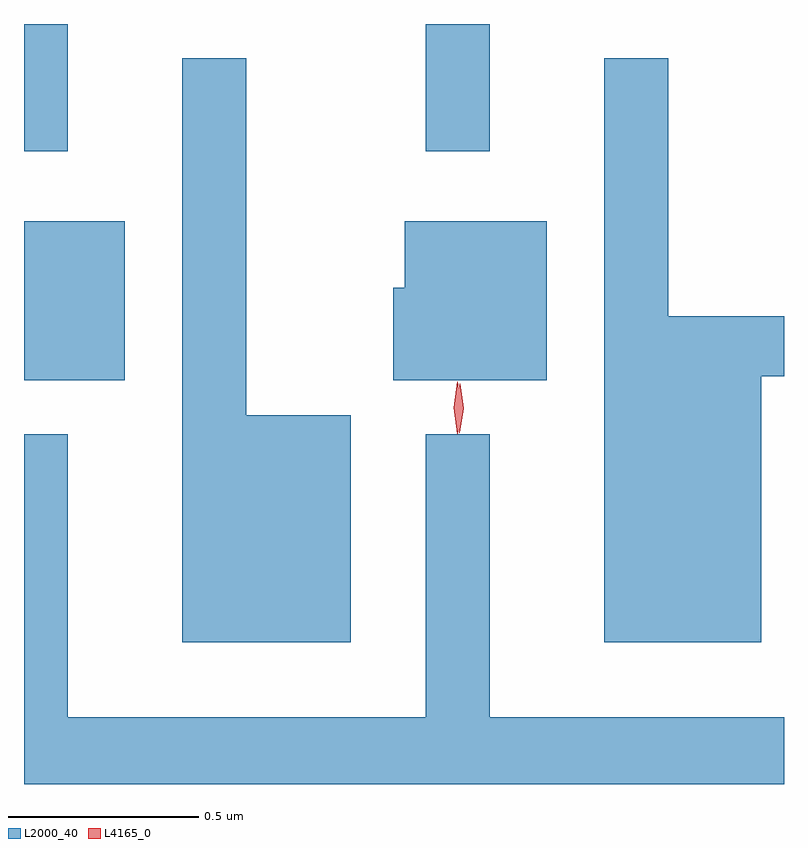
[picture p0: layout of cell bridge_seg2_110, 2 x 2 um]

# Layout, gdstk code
import gdstk
lib = gdstk.Library(unit=1e-6, precision=1e-09)
def R(c, l, rs):  # rectangles x0, y0, x1, y1
    for r in rs: c.add(gdstk.rectangle(r[:2], r[2:], *l))
def P(c, l, *ps):  # polygons
    for p in ps: c.add(gdstk.Polygon(p, *l))
L2000_40 = (2000, 40)
L4165_0 = (4165, 0)

bridge_seg2_110 = lib.new_cell('bridge_seg2_110')
R(bridge_seg2_110, L2000_40, [(916.184,1071.671,916.449,1072.089), (916.184,1072.273,916.299,1072.608), (917.241,1072.273,917.409,1072.608)])
P(bridge_seg2_110, L2000_40, [(918.124,1071.681),(918.184,1071.681),(918.184,1071.839),(917.879,1071.839),(917.879,1072.518),(917.711,1072.518),(917.711,1070.981),(918.124,1070.981)],
  [(917.044,1071.579),(916.769,1071.579),(916.769,1072.518),(916.601,1072.518),(916.601,1070.981),(917.044,1070.981)],
  [(917.559,1072.089),(917.186,1072.089),(917.186,1071.914),(917.156,1071.914),(917.156,1071.671),(917.559,1071.671)],
  [(918.184,1070.784),(917.409,1070.784),(917.409,1071.528),(917.241,1071.528),(917.241,1070.784),(916.299,1070.784),(916.299,1071.528),(916.184,1071.528),(916.184,1070.608),(918.184,1070.608)])
P(bridge_seg2_110, L4165_0, [(917.325,1071.529),(917.324,1071.53),(917.315,1071.598),(917.324,1071.666),(917.325,1071.666),(917.325,1071.666),(917.335,1071.598),(917.325,1071.53)],
  [(917.33,1071.532),(917.33,1071.533),(917.321,1071.597),(917.331,1071.661),(917.332,1071.661),(917.332,1071.661),(917.341,1071.597),(917.331,1071.533)])

lib.write_gds('bridge_seg2_110.gds')
